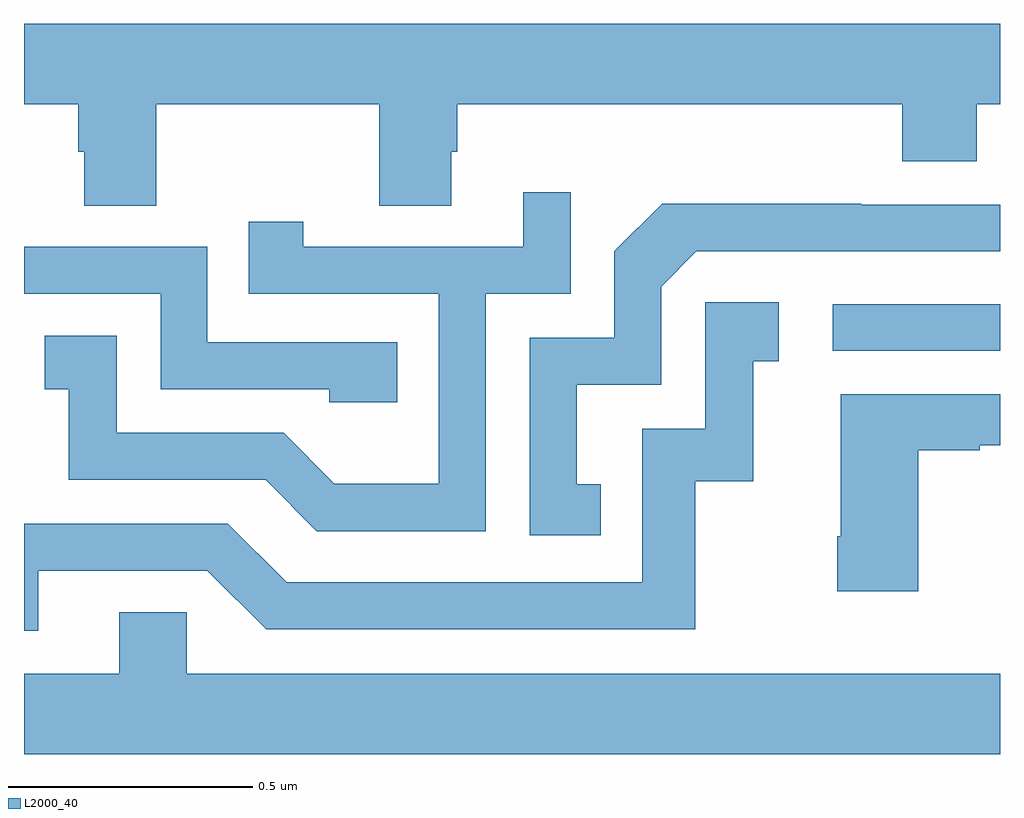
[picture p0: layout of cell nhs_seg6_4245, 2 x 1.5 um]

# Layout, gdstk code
import gdstk
lib = gdstk.Library(unit=1e-6, precision=1e-09)
def R(c, l, rs):  # rectangles x0, y0, x1, y1
    for r in rs: c.add(gdstk.rectangle(r[:2], r[2:], *l))
def P(c, l, *ps):  # polygons
    for p in ps: c.add(gdstk.Polygon(p, *l))
L2000_40 = (2000, 40)

nhs_seg6_4245 = lib.new_cell('nhs_seg6_4245')
R(nhs_seg6_4245, L2000_40, [(168.657,969.474,169,969.57)])
P(nhs_seg6_4245, L2000_40, [(167.271,969.98),(167.728,969.98),(167.728,969.772),(167.875,969.772),(167.875,969.882),(167.888,969.882),(167.888,969.98),(168.8,969.98),(168.8,969.863),(168.952,969.863),(168.952,969.98),(169,969.98),(169,970.144),(167,970.144),(167,969.98),(167.111,969.98),(167.111,969.882),(167.123,969.882),(167.123,969.772),(167.271,969.772)],
  [(167.946,969.591),(168.12,969.591),(168.12,969.799),(168.023,969.799),(168.023,969.687),(167.572,969.687),(167.572,969.739),(167.461,969.739),(167.461,969.591),(167.85,969.591),(167.85,969.202),(167.636,969.202),(167.532,969.306),(167.19,969.306),(167.19,969.505),(167.043,969.505),(167.043,969.395),(167.092,969.395),(167.092,969.21),(167.495,969.21),(167.6,969.105),(167.946,969.105)],
  [(168.182,969.201),(168.133,969.201),(168.133,969.405),(168.306,969.405),(168.306,969.606),(168.378,969.678),(169,969.678),(169,969.774),(168.716,969.774),(168.716,969.776),(168.308,969.776),(168.21,969.678),(168.21,969.501),(168.036,969.501),(168.036,969.096),(168.182,969.096)],
  [(167.765,969.492),(167.376,969.492),(167.376,969.687),(167,969.687),(167,969.591),(167.28,969.591),(167.28,969.396),(167.625,969.396),(167.625,969.369),(167.765,969.369)],
  [(167.029,969.024),(167.376,969.024),(167.496,968.904),(168.376,968.904),(168.376,969.207),(168.494,969.207),(168.494,969.453),(168.547,969.453),(168.547,969.574),(168.396,969.574),(168.396,969.315),(168.267,969.315),(168.267,969),(167.538,969),(167.418,969.12),(167,969.12),(167,968.901),(167.029,968.901)],
  [(168.832,969.271),(168.959,969.271),(168.959,969.281),(169,969.281),(169,969.385),(168.674,969.385),(168.674,969.094),(168.667,969.094),(168.667,968.982),(168.832,968.982)],
  [(169,968.812),(167.334,968.812),(167.334,968.939),(167.195,968.939),(167.195,968.812),(167,968.812),(167,968.648),(169,968.648)])

lib.write_gds('nhs_seg6_4245.gds')
